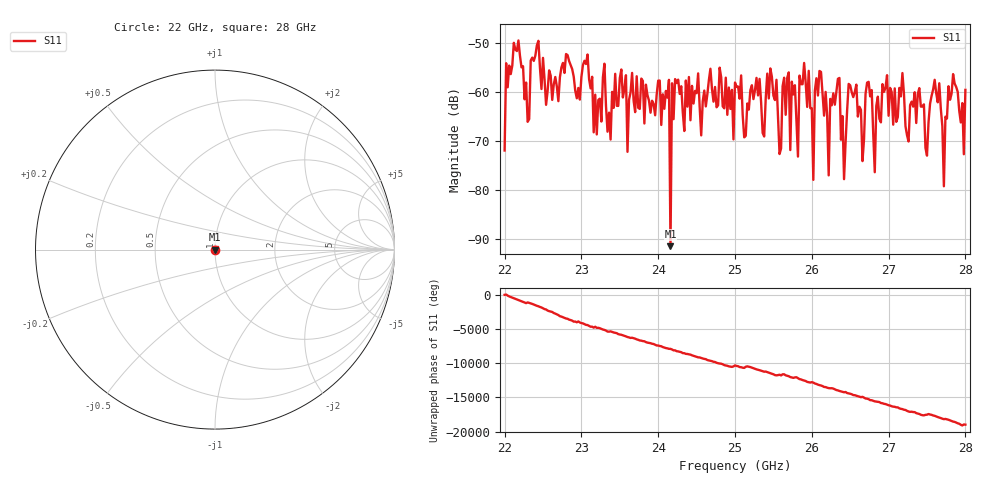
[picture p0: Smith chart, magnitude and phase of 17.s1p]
#  HZ  S  RI  R  50.00
! Rohde & Schwarz ZVA40 4Ports - Version 3.90 - 1145.1110k42 SN: 100403
! Date: 2023-10-04 11:39:19
! Measurement: S12
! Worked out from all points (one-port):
!   301 points, 22 GHz to 28 GHz, reference 50 ohm
!   lowest |S11| = -91.4 dB at 24.16 GHz (marker M1), VSWR 1.00, Z = 50 + j0.000175 ohm
!   |S11| at or under -10 dB: start of sweep to end of sweep
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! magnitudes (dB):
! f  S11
! 22 GHz  -71.9
! 22.02 GHz  -54.1
! 22.12 GHz  -50.0
! 22.3 GHz  -66.1
! 22.76 GHz  -54.1
! 23.5 GHz  -57.2
! 23.6 GHz  -72.2
! 23.66 GHz  -56.1
! 24.14 GHz  -57.5
! 24.16 GHz  -91.4
! 24.18 GHz  -58.2
! 24.26 GHz  -57.5
! 25 GHz  -58.1
! 25.76 GHz  -60.5
! 25.82 GHz  -73.2
! 25.84 GHz  -56.7
! 25.96 GHz  -55.7
! 26.02 GHz  -77.9
! 26.12 GHz  -55.9
! 26.22 GHz  -77.0
! 26.36 GHz  -57.1
! 26.42 GHz  -77.8
! 26.5 GHz  -58.6
! 27.26 GHz  -70.1
! 27.66 GHz  -58.2
! 27.72 GHz  -79.2
! 27.78 GHz  -58.8
! 28 GHz  -59.6
